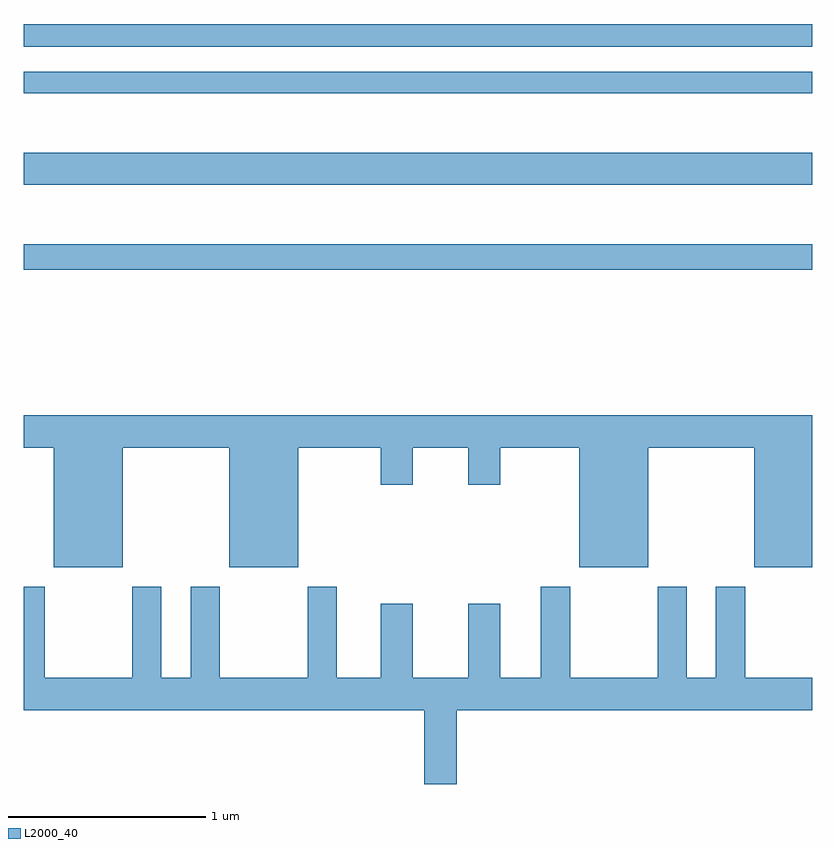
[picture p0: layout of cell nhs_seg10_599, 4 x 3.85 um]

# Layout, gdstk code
import gdstk
lib = gdstk.Library(unit=1e-6, precision=1e-09)
def R(c, l, rs):  # rectangles x0, y0, x1, y1
    for r in rs: c.add(gdstk.rectangle(r[:2], r[2:], *l))
def P(c, l, *ps):  # polygons
    for p in ps: c.add(gdstk.Polygon(p, *l))
L2000_40 = (2000, 40)

nhs_seg10_599 = lib.new_cell('nhs_seg10_599')
R(nhs_seg10_599, L2000_40, [(139,1329.19,143,1329.319), (139,1329.62,143,1329.784), (139,1330.086,143,1330.194), (139,1330.32,143,1330.436)])
P(nhs_seg10_599, L2000_40, [(139.504,1328.288),(140.042,1328.288),(140.042,1327.682),(140.392,1327.682),(140.392,1328.288),(140.81,1328.288),(140.81,1328.1),(140.974,1328.1),(140.974,1328.288),(141.254,1328.288),(141.254,1328.1),(141.418,1328.1),(141.418,1328.288),(141.818,1328.288),(141.818,1327.682),(142.168,1327.682),(142.168,1328.288),(142.706,1328.288),(142.706,1327.682),(143,1327.682),(143,1328.452),(139,1328.452),(139,1328.288),(139.154,1328.288),(139.154,1327.682),(139.504,1327.682)],
  [(141.032,1326.582),(141.196,1326.582),(141.196,1326.956),(143,1326.956),(143,1327.12),(142.659,1327.12),(142.659,1327.582),(142.511,1327.582),(142.511,1327.12),(142.363,1327.12),(142.363,1327.582),(142.216,1327.582),(142.216,1327.12),(141.771,1327.12),(141.771,1327.582),(141.623,1327.582),(141.623,1327.12),(141.418,1327.12),(141.418,1327.495),(141.254,1327.495),(141.254,1327.12),(140.974,1327.12),(140.974,1327.495),(140.81,1327.495),(140.81,1327.12),(140.587,1327.12),(140.587,1327.582),(140.44,1327.582),(140.44,1327.12),(139.995,1327.12),(139.995,1327.582),(139.847,1327.582),(139.847,1327.12),(139.699,1327.12),(139.699,1327.582),(139.552,1327.582),(139.552,1327.12),(139.107,1327.12),(139.107,1327.582),(139,1327.582),(139,1326.956),(141.032,1326.956)])

lib.write_gds('nhs_seg10_599.gds')
